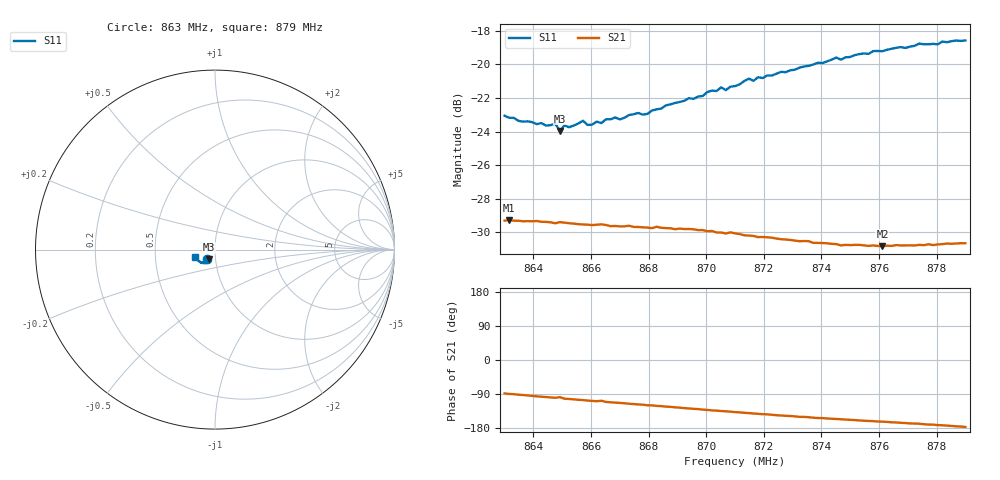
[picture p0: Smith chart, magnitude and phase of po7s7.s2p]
# HZ S RI R 50
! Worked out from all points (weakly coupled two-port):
!   101 points, 863 MHz to 879 MHz, reference 50 ohm
!   highest |S21| = -29.29 dB at 863.16 MHz (marker M1); lowest = -30.8 dB at 876.12 MHz (marker M2)
!   lowest |S11| = -24.0 dB at 864.92 MHz (marker M3), VSWR 1.14, Z = 46.6 - j5.08 ohm
!   |S11| at or under -10 dB: start of sweep to end of sweep
!   S12 and S22 are empty: the file has one direction only
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8.63e8  -0.046 -0.0532  0.00106 -0.0342  0 0  0 0
8.6316e8  -0.0444 -0.0533  0.000286 -0.0343  0 0  0 0
8.6444e8  -0.039 -0.0529  -0.00459 -0.0336  0 0  0 0
8.6476e8  -0.0386 -0.0543  -0.00572 -0.0331  0 0  0 0
8.6492e8  -0.0326 -0.0543  -0.0047 -0.0335  0 0  0 0
8.6508e8  -0.0364 -0.0549  -0.00711 -0.033  0 0  0 0
8.6524e8  -0.0354 -0.0545  -0.00751 -0.0327  0 0  0 0
8.6572e8  -0.0353 -0.0581  -0.00905 -0.0321  0 0  0 0
8.6588e8  -0.0349 -0.056  -0.00977 -0.0318  0 0  0 0
8.6636e8  -0.0398 -0.0537  -0.01 -0.0318  0 0  0 0
8.6652e8  -0.0341 -0.0595  -0.0118 -0.031  0 0  0 0
8.67e8  -0.0337 -0.0597  -0.0129 -0.0302  0 0  0 0
8.6844e8  -0.0358 -0.0646  -0.0171 -0.0277  0 0  0 0
8.7052e8  -0.0446 -0.0729  -0.0222 -0.0224  0 0  0 0
8.7068e8  -0.0444 -0.0711  -0.0223 -0.022  0 0  0 0
8.71e8  -0.0469 -0.0724  -0.0231 -0.0212  0 0  0 0
8.7148e8  -0.0509 -0.075  -0.0237 -0.0198  0 0  0 0
8.7164e8  -0.0494 -0.0745  -0.024 -0.0193  0 0  0 0
8.7372e8  -0.0665 -0.0746  -0.026 -0.0136  0 0  0 0
8.7612e8  -0.0882 -0.065  -0.0274 -0.00855  0 0  0 0
8.7644e8  -0.0923 -0.0624  -0.0277 -0.00774  0 0  0 0
8.79e8  -0.1108 -0.0405  -0.0292 -0.00174  0 0  0 0
